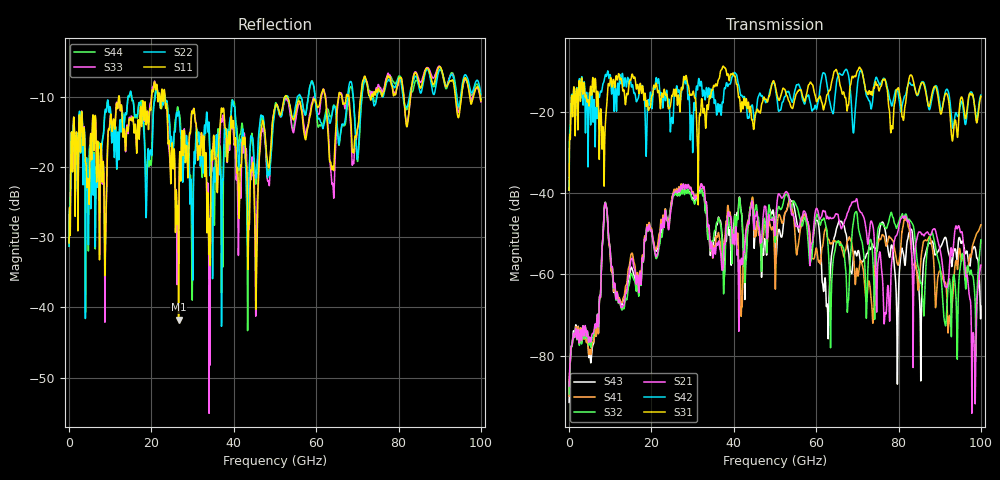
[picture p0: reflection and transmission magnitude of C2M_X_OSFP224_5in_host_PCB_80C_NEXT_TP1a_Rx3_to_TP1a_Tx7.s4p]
# GHz S RI R 45
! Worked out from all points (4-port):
!   4000 points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, 25 MHz to 100 GHz, reference 45 ohm
!   strongest paths, dB at 25 MHz, 25.02 GHz, 50.02 GHz, 75.03 GHz, 100 GHz:
!     S31: -39.3, -16.0, -13.5, -13.7, -16.2
!     S42: -39.3, -21.6, -13.7, -12.5, -15.9
!     S21: -87.5, -42.1, -50.2, -57.0, -57.7
!     S32: -89.4, -42.4, -51.8, -48.8, -51.5
!     S41: -89.9, -40.9, -60.9, -52.1, -47.9
!     S43: -91.5, -41.3, -50.1, -52.2, -67.8
!   lowest |S11| = -41.8 dB at 26.6 GHz (marker M1), VSWR 1.02, Z = 45.4 + j0.601 ohm
!   |S11| at or under -10 dB: start of sweep to 12.07 GHz; 23.3 GHz to 52.47 GHz (29.17 GHz wide, 77 % of centre); 52.85 GHz to 61.11 GHz (8.261 GHz wide, 14.5 % of centre)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
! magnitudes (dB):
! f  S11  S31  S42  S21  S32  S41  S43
! 25 MHz  -30.8  -39.3  -39.3  -87.5  -89.4  -89.9  -91.5
! 5.6 GHz  -16.5  -14.1  -15.0  -74.7  -75.7  -77.3  -78.3
! 8.875 GHz  -30.3  -22.2  -10.9  -42.6  -42.6  -42.5  -42.5
! 13 GHz  -14.5  -14.5  -10.7  -67.9  -68.4  -66.5  -67.0
! 26.6 GHz  -41.8  -15.9  -14.8  -39.1  -40.1  -38.7  -39.9
! 92.38 GHz  -7.8  -19.0  -16.6  -57.9  -61.2  -70.1  -55.6
! 100 GHz  -10.6  -16.2  -15.9  -57.7  -51.5  -47.9  -67.8
